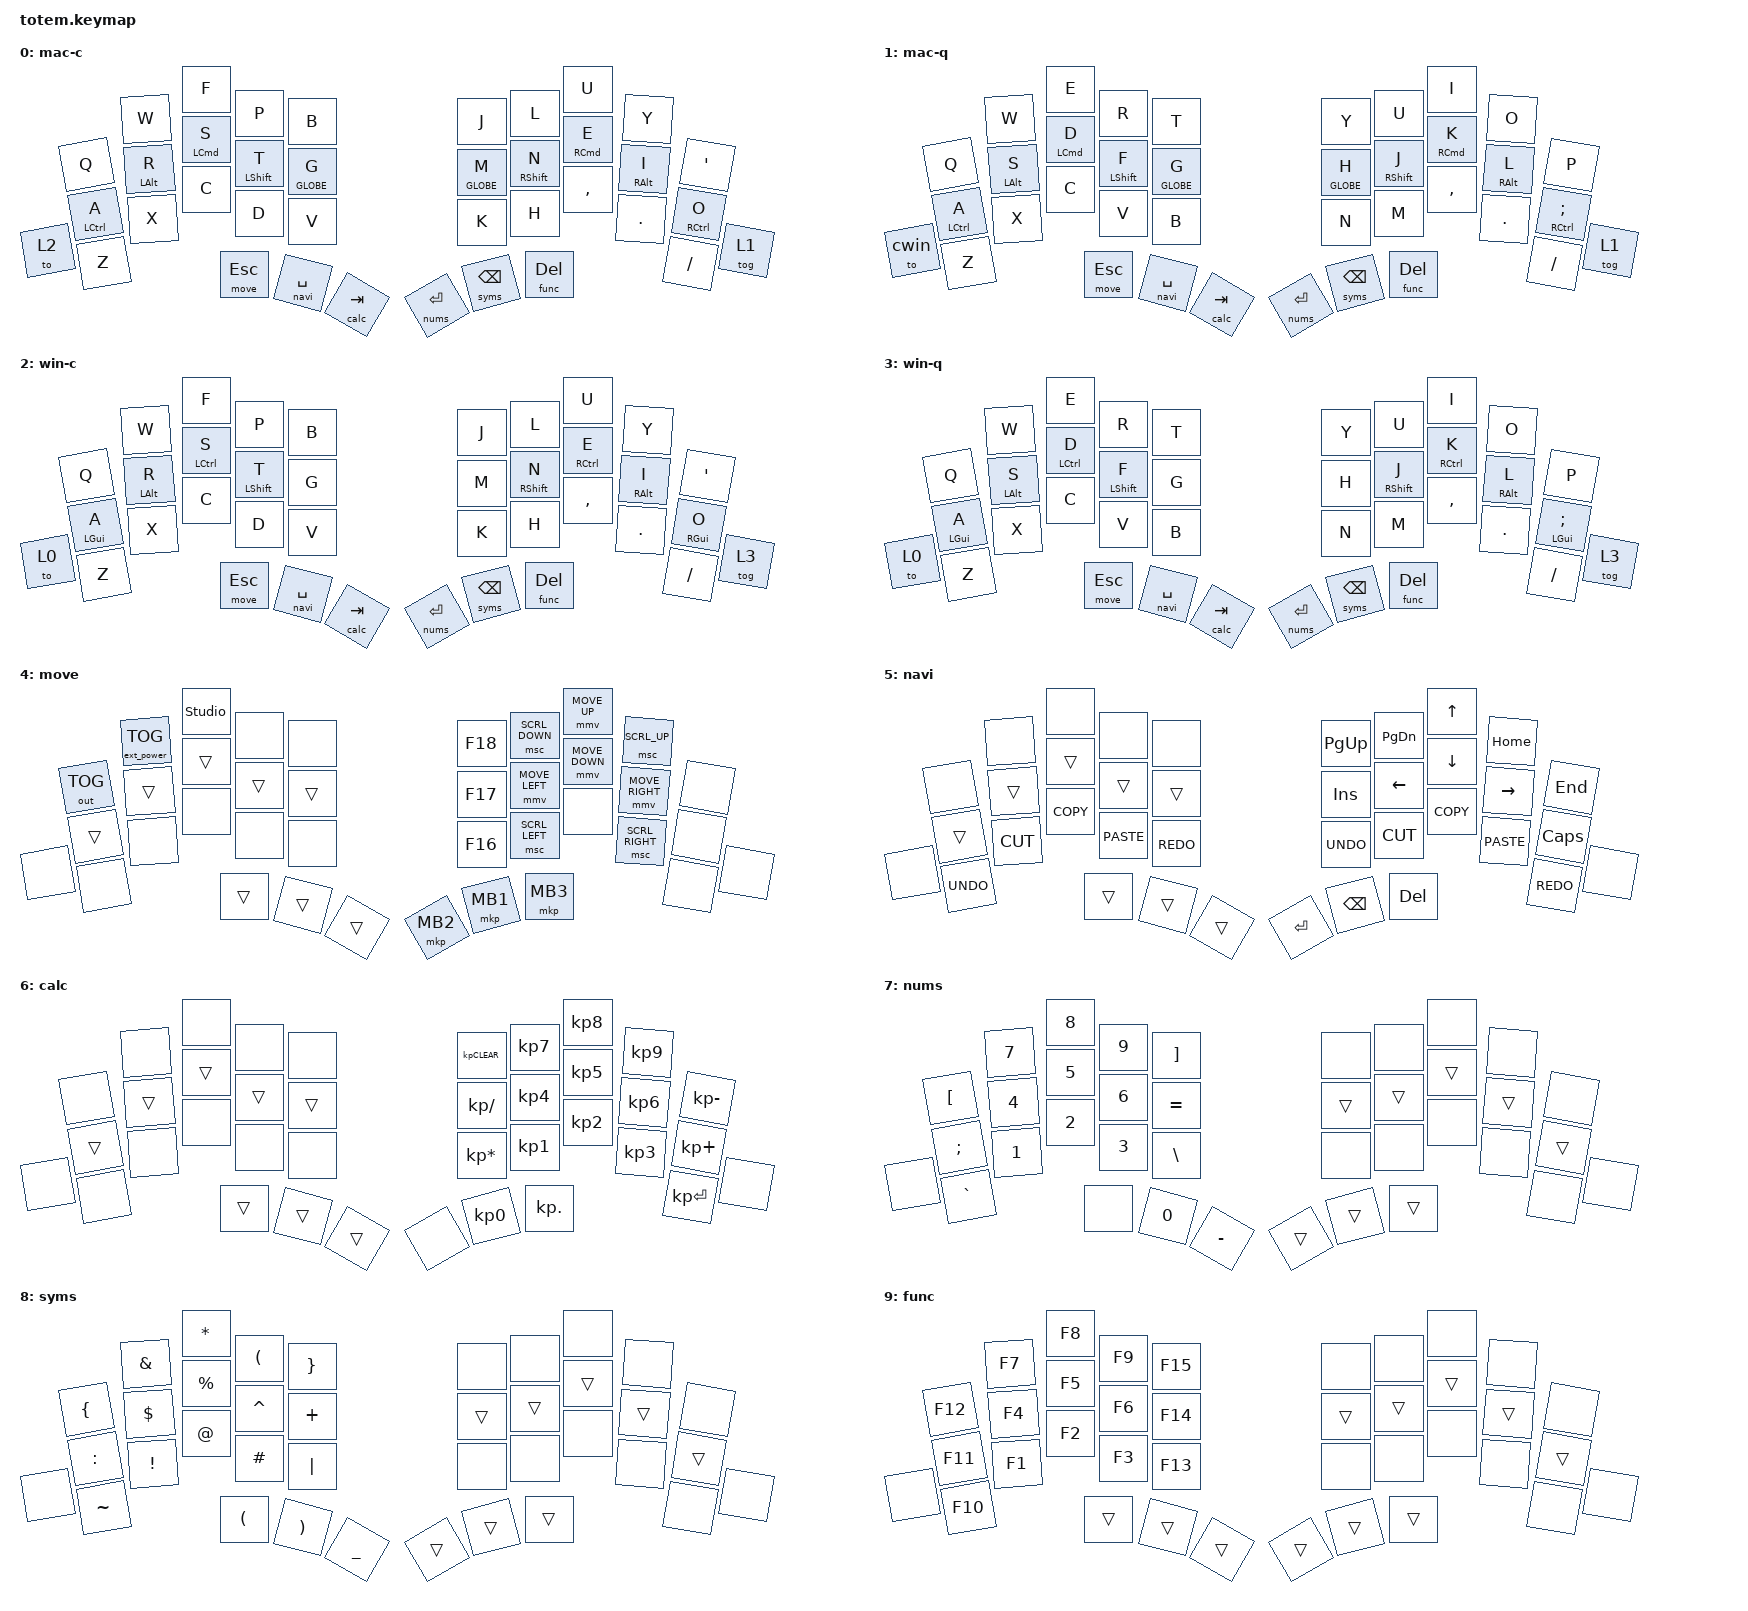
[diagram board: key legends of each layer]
//
//                                                        ▀▀▀▀▀     ▀▀▀▀▀          ▀▀█▀▀
//                                                        ▄▀▀▀▄  ▄  ▄▀▀▀▄  ▄  ▄▀▀▀▄  █  ▄▀▀▀▄
//                                                        █   █  █  █   █  █  █   █  █  █   █
//                                                         ▀▀▀   █   ▀▀▀   █   ▀▀▀   ▀   ▀▀▀
//                                                               █      ▄▄▄█▄▄▄    █   █
//                                                               ▀      █  █  █     █▄█
//                                                             ▀▀▀▀▀    █  █  █      ▀
//                                                                      ▀  ▀  ▀   MACOS MIRYOKU-INSPIRED
//
// ▄▄▄▄▄▄▄▄▄▄▄▄▄▄▄▄▄▄▄▄▄▄▄▄▄▄▄▄▄▄▄▄▄▄▄▄▄▄▄▄▄▄▄▄▄▄▄▄▄▄▄▄▄▄▄▄▄▄▄▄▄▄▄▄▄▄▄▄▄▄▄▄▄▄▄▄▄▄▄▄▄▄▄▄▄▄▄▄▄▄▄▄▄▄▄▄▄▄▄▄▄▄▄▄▄▄▄▄▄▄▄▄▄▄▄▄▄▄▄▄▄▄▄▄▄▄▄▄▄▄▄▄▄▄▄▄▄▄▄▄▄▄▄▄▄▄▄▄▄
//
// ╭───────────────────────────────────────────────────────────────────────────────────────────────────────────────────────────────────────────────────╮
// │ I N C L U D E S                                                                                                                                   │
// ╰───────────────────────────────────────────────────────────────────────────────────────────────────────────────────────────────────────────────────╯

#include <behaviors.dtsi>
#include <dt-bindings/zmk/keys.h>
#include <dt-bindings/zmk/bt.h>
#include <dt-bindings/zmk/outputs.h>
#include <dt-bindings/zmk/ext_power.h>
#include <dt-bindings/zmk/pointing.h>

// ╭───────────────────────────────────────────────────────────────────────────────────────────────────────────────────────────────────────────────────╮
// │ D E F I N E  L A Y E R S                                                                                                                          │
// ╰───────────────────────────────────────────────────────────────────────────────────────────────────────────────────────────────────────────────────╯

#define cmac    0
#define qmac    1
#define cwin    2
#define qwin    3
#define move    4
#define navi    5
#define calc    6
#define nums    7
#define syms    8
#define func    9

// ╭───────────────────────────────────────────────────────────────────────────────────────────────────────────────────────────────────────────────────╮
// │ B E H A V I O R S                                                                                                                                 │
// ╰───────────────────────────────────────────────────────────────────────────────────────────────────────────────────────────────────────────────────╯

&mt {
    quick-tap-ms = <100>;
    global-quick-tap;
    flavor = "tap-preferred";
    tapping-term-ms = <170>;
};

&lt {
    tapping-term-ms = <240>;
    flavor = "balanced";
    quick-tap-ms = <150>;
};

/ {
    behaviors {
        hml: home_row_mod_left {
            compatible = "zmk,behavior-hold-tap";
            #binding-cells = <2>;
            flavor = "balanced";
            tapping-term-ms = <280>;
            quick-tap-ms = <175>;
            bindings = <&kp>, <&kp>;
            require-prior-idle-ms = <150>;
            hold-trigger-key-positions = <10 11 12 13 14>;
            hold-trigger-on-release;
        };
            hmr: home_row_mod_right {
            compatible = "zmk,behavior-hold-tap";
            #binding-cells = <2>;
            flavor = "balanced";
            tapping-term-ms = <280>;
            quick-tap-ms = <175>;
            bindings = <&kp>, <&kp>;
            require-prior-idle-ms = <150>;
            hold-trigger-key-positions = <15 16 17 18 19>;
            hold-trigger-on-release;
        };
    };

// ╭───────────────────────────────────────────────────────────────────────────────────────────────────────────────────────────────────────────────────╮
// │ C O M B O S  A N D  M A C R O S                                                                                                                   │
// ╰───────────────────────────────────────────────────────────────────────────────────────────────────────────────────────────────────────────────────╯

/ {
    combos {
        compatible = "zmk,combos";

        combo_esc {
            timeout-ms = <50>;
            key-positions = <0 1>;
            bindings = <&kp ESC>;
        };

        Enter {
            bindings = <&kp ENTER>;
            key-positions = <34 35>;
        };
    };

// ▝▀▀▀▀▀▀▀▀▀▀▀▀▀▀▀▀▀▀▀▀▀▀▀▀▀▀▀▀▀▀▀▀▀▀▀▀▀▀▀▀▀▀▀▀▀▀▀▀▀▀▀▀▀▀▀▀▀▀▀▀▀▀▀▀▀▀▀▀▀▀▀▀▀▀▀▀▀▀▀▀▀▀▀▀▀▀▀▀▀▀▀▀▀▀▀▀▀▀▀▀▀▀▀▀▀▀▀▀▀▀▀▀▀▀▀▀▀▀▀▀▀▀▀▀▀▀▀▀▀▀▀▀▀▀▀▀▀▀▀▀▀▀▀▀▀▀▀▘
// ╭───────────────────────────────────────────────────────────────────────────────────────────────────────────────────────────────────────────────────╮
// │ K E Y M A P S                                                                                                                                     │
// ╰───────────────────────────────────────────────────────────────────────────────────────────────────────────────────────────────────────────────────╯
    keymap {
        compatible = "zmk,keymap";

// ╺━━━━━━━━━━━━━━━━━━━━━━━━━━━━━━━━━━━━━━━━━━━━━━━━━━━━━━━━━━━━━━━━━━━━━━━━━━━━━━━━━━━━━━━━━━━━━━━━━━━━━━━━━━━━━━━━━━━━━━━━━━━━━━━━━━━━━━━━━━━━━━━━━━━╸
//
// ╭──────────┬───────────────────────────────────────╮
// │ Layer 0  │ COLEMAK-DH with Apple mods            │
// ╰──────────┴───────────────────────────────────────╯
//                 ╭─────────┬─────────┬─────────┬─────────┬─────────╮ ╭─────────┬─────────┬─────────┬─────────┬─────────╮
//                 │    Q    │    W    │    F    │    P    │    B    │ │    J    │    L    │    U    │    Y    │    '    │
//                 ├─────────┼─────────┼─────────┼─────────┼─────────┤ ├─────────┼─────────┼─────────┼─────────┼─────────┤
//                 │   ⌃ A   │   ⌥ R   │   ⌘ S   │   ⇧ T   │   ⎈ G   │ │   ⎈ M   │   ⇧ N   │   ⌘ E   │   ⌥ I   │   ⌃ O   │
//       ╭─────────┼─────────┼─────────┼─────────┼─────────┼─────────┤ ├─────────┼─────────┼─────────┼─────────┼─────────┼─────────╮
//       │  CWIN   │    Z    │    X    │    C    │    D    │    V    │ │    K    │    H    │    ,    │    .    │    /    │   QMAC  │
//       ╰─────────┴─────────┴─────────┼─────────┼─────────┼─────────┤ ├─────────┼─────────┼─────────┼─────────┴─────────┴─────────╯
//                                     │  4 ESC  │ 5 SPACE │  6 TAB  │ │  7 RET  │ 8 BSPC  │  9 DEL  │
//                                     ╰─────────┴─────────┴─────────╯ ╰─────────┴─────────┴─────────╯
        cmac {
            label = "mac-c";
            bindings = <
                &kp Q  &kp W  &kp F  &kp P  &kp B                                    &kp J  &kp L  &kp U  &kp Y  &kp APOS
                &hml LCTRL A  &hml LALT R  &hml LCMD S  &hml LSHFT T  &hml GLOBE G   &hmr GLOBE M  &hmr RSHFT N  &hmr RCMD E  &hmr RALT I  &hmr RCTRL O
                &to 2  &kp Z  &kp X  &kp C  &kp D  &kp V                             &kp K  &kp H  &kp COMMA  &kp PERIOD  &kp FSLH  &tog 1
                &lt move ESC  &lt navi SPACE  &lt calc TAB                           &lt nums RET  &lt syms BSPC  &lt func DEL
            >;
        };

// ╺━━━━━━━━━━━━━━━━━━━━━━━━━━━━━━━━━━━━━━━━━━━━━━━━━━━━━━━━━━━━━━━━━━━━━━━━━━━━━━━━━━━━━━━━━━━━━━━━━━━━━━━━━━━━━━━━━━━━━━━━━━━━━━━━━━━━━━━━━━━━━━━━━━━╸
//
// ╭──────────┬───────────────────────────────────────╮
// │ Layer 1  │ QWERTY with Apple mods                │
// ╰──────────┴───────────────────────────────────────╯
//                 ╭─────────┬─────────┬─────────┬─────────┬─────────╮ ╭─────────┬─────────┬─────────┬─────────┬─────────╮
//                 │    Q    │    W    │    E    │    R    │    T    │ │    Y    │    U    │    I    │    O    │    P    │
//                 ├─────────┼─────────┼─────────┼─────────┼─────────┤ ├─────────┼─────────┼─────────┼─────────┼─────────┤
//                 │   ⌃ A   │   ⌥ S   │   ⌘ D   │   ⇧ F   │   ⎈ G   │ │   ⎈ H   │   ⇧ J   │   ⌘ K   │   ⌥ L   │   ⌃ ;   │
//       ╭─────────┼─────────┼─────────┼─────────┼─────────┼─────────┤ ├─────────┼─────────┼─────────┼─────────┼─────────┼─────────╮
//       │  CWIN   │    Z    │    X    │    C    │    V    │    B    │ │    N    │    M    │    ,    │    .    │    /    │   CMAC  │
//       ╰─────────┴─────────┴─────────┼─────────┼─────────┼─────────┤ ├─────────┼─────────┼─────────┼─────────┴─────────┴─────────╯
//                                     │  4 ESC  │ 5 SPACE │  6 TAB  │ │  7 RET  │ 8 BSPC  │  9 DEL  │
//                                     ╰─────────┴─────────┴─────────╯ ╰─────────┴─────────┴─────────╯
        qmac {
            label = "mac-q";
            bindings = <
                &kp Q  &kp W  &kp E  &kp R  &kp T                                     &kp Y  &kp U  &kp I  &kp O  &kp P
                &hml LCTRL A  &hml LALT S  &hml LCMD D  &hml LSHFT F  &hml GLOBE G    &hmr GLOBE H  &hmr RSHFT J  &hmr RCMD K  &hmr RALT L  &hmr RCTRL SEMI
                &to cwin  &kp Z  &kp X  &kp C  &kp V  &kp B                           &kp N  &kp M  &kp COMMA  &kp DOT  &kp FSLH  &tog 1
                &lt move ESC  &lt navi SPACE  &lt calc TAB                            &lt nums RET  &lt syms BSPC  &lt func DEL
            >;
        };

// ╺━━━━━━━━━━━━━━━━━━━━━━━━━━━━━━━━━━━━━━━━━━━━━━━━━━━━━━━━━━━━━━━━━━━━━━━━━━━━━━━━━━━━━━━━━━━━━━━━━━━━━━━━━━━━━━━━━━━━━━━━━━━━━━━━━━━━━━━━━━━━━━━━━━━╸
//
// ╭──────────┬───────────────────────────────────────╮
// │ Layer 2  │ COLEMAK-DH with Microsoft mods        │
// ╰──────────┴───────────────────────────────────────╯
//                 ╭─────────┬─────────┬─────────┬─────────┬─────────╮ ╭─────────┬─────────┬─────────┬─────────┬─────────╮
//                 │    Q    │    W    │    F    │    P    │    B    │ │    J    │    L    │    U    │    Y    │    '    │
//                 ├─────────┼─────────┼─────────┼─────────┼─────────┤ ├─────────┼─────────┼─────────┼─────────┼─────────┤
//                 │   ♢ A   │   ⌥ R   │   ⌃ S   │   ⇧ T   │    G    │ │    M    │   ⇧ N   │   ⌃ E   │   ⌥ I   │   ♢ O   │
//       ╭─────────┼─────────┼─────────┼─────────┼─────────┼─────────┤ ├─────────┼─────────┼─────────┼─────────┼─────────┼─────────╮
//       │  CMAC   │    Z    │    X    │    C    │    D    │    V    │ │    K    │    H    │    ,    │    .    │    /    │   QWIN  │
//       ╰─────────┴─────────┴─────────┼─────────┼─────────┼─────────┤ ├─────────┼─────────┼─────────┼─────────┴─────────┴─────────╯
//                                     │  4 ESC  │ 5 SPACE │  6 TAB  │ │  7 RET  │ 8 BSPC  │  9 DEL  │
//                                     ╰─────────┴─────────┴─────────╯ ╰─────────┴─────────┴─────────╯
        cwin {
            label = "win-c";
            bindings = <
                &kp Q  &kp W  &kp F  &kp P  &kp B                                  &kp J  &kp L  &kp U  &kp Y  &kp APOS
                &hml LGUI A  &hml LALT R  &hml LCTRL S  &hml LSHFT T  &kp G        &kp M  &hmr RSHFT N  &hmr RCTRL E  &hmr RALT I  &hmr RGUI O
                &to 0  &kp Z  &kp X  &kp C  &kp D  &kp V                           &kp K  &kp H  &kp COMMA  &kp PERIOD  &kp FSLH  &tog 3
                &lt move ESC  &lt navi SPACE  &lt calc TAB                         &lt nums RET  &lt syms BSPC  &lt func DEL
            >;
        };

// ╺━━━━━━━━━━━━━━━━━━━━━━━━━━━━━━━━━━━━━━━━━━━━━━━━━━━━━━━━━━━━━━━━━━━━━━━━━━━━━━━━━━━━━━━━━━━━━━━━━━━━━━━━━━━━━━━━━━━━━━━━━━━━━━━━━━━━━━━━━━━━━━━━━━━╸
//
// ╭──────────┬───────────────────────────────────────╮
// │ Layer 3  │ QWERTY with Microsoft mods            │
// ╰──────────┴───────────────────────────────────────╯
//                 ╭─────────┬─────────┬─────────┬─────────┬─────────╮ ╭─────────┬─────────┬─────────┬─────────┬─────────╮
//                 │    Q    │    W    │    E    │    R    │    T    │ │    Y    │    U    │    I    │    O    │    P    │
//                 ├─────────┼─────────┼─────────┼─────────┼─────────┤ ├─────────┼─────────┼─────────┼─────────┼─────────┤
//                 │   ♢ A   │   ⌥ S   │   ⌃ D   │   ⇧ F   │    G    │ │    H    │   ⇧ J   │   ⌃ K   │   ⌥ L   │   ♢ ;   │
//       ╭─────────┼─────────┼─────────┼─────────┼─────────┼─────────┤ ├─────────┼─────────┼─────────┼─────────┼─────────┼─────────╮
//       │  CMAC   │    Z    │    X    │    C    │    V    │    B    │ │    N    │    M    │    ,    │    .    │    /    │   CWIN  │
//       ╰─────────┴─────────┴─────────┼─────────┼─────────┼─────────┤ ├─────────┼─────────┼─────────┼─────────┴─────────┴─────────╯
//                                     │  4 ESC  │ 5 SPACE │  6 TAB  │ │  7 RET  │ 8 BSPC  │  9 DEL  │
//                                     ╰─────────┴─────────┴─────────╯ ╰─────────┴─────────┴─────────╯
        qwin {
            label = "win-q";
            bindings = <
                &kp Q  &kp W  &kp E  &kp R  &kp T                                  &kp Y  &kp U  &kp I  &kp O  &kp P
                &hml LGUI A  &hml LALT S  &hml LCTRL D  &hml LSHFT F  &kp G        &kp H  &hmr RSHFT J  &hmr RCTRL K  &hmr RALT L  &hmr LGUI SEMI
                &to 0  &kp Z  &kp X  &kp C  &kp V  &kp B                           &kp N  &kp M  &kp COMMA  &kp DOT  &kp FSLH  &tog 3
                &lt move ESC  &lt navi SPACE  &lt calc TAB                         &lt nums RET  &lt syms BSPC  &lt func DEL
            >;
        };

// ╺━━━━━━━━━━━━━━━━━━━━━━━━━━━━━━━━━━━━━━━━━━━━━━━━━━━━━━━━━━━━━━━━━━━━━━━━━━━━━━━━━━━━━━━━━━━━━━━━━━━━━━━━━━━━━━━━━━━━━━━━━━━━━━━━━━━━━━━━━━━━━━━━━━━╸
//
// ╭──────────┬───────────────────────────────────────╮
// │ Layer 4  │ ZMK Control and Mouse Emulation       │
// ╰──────────┴───────────────────────────────────────╯
//                 ╭─────────┬─────────┬─────────┬─────────┬─────────╮ ╭─────────┬─────────┬─────────┬─────────┬─────────╮
//                 │ USB/BLE │   PWR   │ studio  │         │         │ │   F18   │ scroll↓ │    ↑    │ scroll↑ │         │
//                 ├─────────┼─────────┼─────────┼─────────┼─────────┤ ├─────────┼─────────┼─────────┼─────────┼─────────┤
//                 │    ▼    │    ▼    │    ▼    │    ▼    │    ▼    │ │   F17   │    ←    │    ↓    │    →    │         │
//       ╭─────────┼─────────┼─────────┼─────────┼─────────┼─────────┤ ├─────────┼─────────┼─────────┼─────────┼─────────┼─────────╮
//       │         │         │         │         │         │         │ │   F16   │ scroll← │         │ scroll→ │         │         │
//       ╰─────────┴─────────┴─────────┼─────────┼─────────┼─────────┤ ├─────────┼─────────┼─────────┼─────────┴─────────┴─────────╯
//                                     │    ▽    │    ▼    │    ▼    │ │   MB1   │   MB2   │   MB3   │
//                                     ╰─────────┴─────────┴─────────╯ ╰─────────┴─────────┴─────────╯
        move {
            label = "move";
            bindings = <
                &out OUT_TOG  &ext_power EP_TOG  &studio_unlock  &none  &none      &kp F18  &msc SCRL_DOWN  &mmv MOVE_UP  &msc SCRL_UP  &none
                &trans  &trans  &trans  &trans  &trans                             &kp F17  &mmv MOVE_LEFT  &mmv MOVE_DOWN  &mmv MOVE_RIGHT  &none
                &none  &none  &none  &none  &none  &none                           &kp F16  &msc SCRL_LEFT  &none  &msc SCRL_RIGHT  &none  &none
                &trans  &trans  &trans                                             &mkp MB2  &mkp MB1  &mkp MB3
            >;
        };

// ╺━━━━━━━━━━━━━━━━━━━━━━━━━━━━━━━━━━━━━━━━━━━━━━━━━━━━━━━━━━━━━━━━━━━━━━━━━━━━━━━━━━━━━━━━━━━━━━━━━━━━━━━━━━━━━━━━━━━━━━━━━━━━━━━━━━━━━━━━━━━━━━━━━━━╸
//
// ╭──────────┬───────────────────────────────────────╮
// │ Layer 5  │ Navigation and Arrow Keys             │
// ╰──────────┴───────────────────────────────────────╯
//                 ╭─────────┬─────────┬─────────┬─────────┬─────────╮ ╭─────────┬─────────┬─────────┬─────────┬─────────╮
//                 │         │         │         │         │         │ │  PG_UP  │  PG_DN  │    ↑    │  HOME   │   END   │
//                 ├─────────┼─────────┼─────────┼─────────┼─────────┤ ├─────────┼─────────┼─────────┼─────────┼─────────┤
//                 │    ▼    │    ▼    │    ▼    │    ▼    │    ▼    │ │   INS   │    ←    │    ↓    │    →    │  CAPS   │
//       ╭─────────┼─────────┼─────────┼─────────┼─────────┼─────────┤ ├─────────┼─────────┼─────────┼─────────┼─────────┼─────────╮
//       │         │   UNDO  │   CUT   │  COPY   │  PASTE  │  REDO   │ │   UNDO  │   CUT   │  COPY   │  PASTE  │  REDO   │         │
//       ╰─────────┴─────────┴─────────┼─────────┼─────────┼─────────┤ ├─────────┼─────────┼─────────┼─────────┴─────────┴─────────╯
//                                     │    ▼    │    ▽    │    ▼    │ │   RET   │  BSPC   │   DEL   │
//                                     ╰─────────┴─────────┴─────────╯ ╰─────────┴─────────┴─────────╯
        navi {
            label = "navi";
            bindings = <
                &none  &none  &none  &none  &none                                 &kp PG_UP  &kp PG_DN  &kp UP  &kp HOME  &kp END
                &trans  &trans  &trans  &trans  &trans                            &kp INS  &kp LEFT  &kp DOWN  &kp RIGHT  &kp CAPS
                &none  &kp K_UNDO  &kp K_CUT  &kp K_COPY  &kp K_PASTE  &kp K_REDO &kp K_UNDO  &kp K_CUT  &kp K_COPY  &kp K_PASTE  &kp K_REDO  &none
                &trans  &trans  &trans                                            &kp RET  &kp BSPC  &kp DEL
            >;
        };

// ╺━━━━━━━━━━━━━━━━━━━━━━━━━━━━━━━━━━━━━━━━━━━━━━━━━━━━━━━━━━━━━━━━━━━━━━━━━━━━━━━━━━━━━━━━━━━━━━━━━━━━━━━━━━━━━━━━━━━━━━━━━━━━━━━━━━━━━━━━━━━━━━━━━━━╸
//
// ╭──────────┬───────────────────────────────────────╮
// │ Layer 6  │ Keypad Numbers                        │
// ╰──────────┴───────────────────────────────────────╯
//                 ╭─────────┬─────────┬─────────┬─────────┬─────────╮ ╭─────────┬─────────┬─────────┬─────────┬─────────╮
//                 │         │         │         │         │         │ │   CLR   │    7    │    8    │    9    │    -    │
//                 ├─────────┼─────────┼─────────┼─────────┼─────────┤ ├─────────┼─────────┼─────────┼─────────┼─────────┤
//                 │    ▼    │    ▼    │    ▼    │    ▼    │    ▼    │ │    /    │    4    │    5    │    6    │    +    │
//       ╭─────────┼─────────┼─────────┼─────────┼─────────┼─────────┤ ├─────────┼─────────┼─────────┼─────────┼─────────┼─────────╮
//       │         │         │         │         │         │         │ │    *    │    1    │    2    │    3    │   ENT   │         │
//       ╰─────────┴─────────┴─────────┼─────────┼─────────┼─────────┤ ├─────────┼─────────┼─────────┼─────────┴─────────┴─────────╯
//                                     │    ▼    │    ▼    │    ▽    │ │         │    0    │    .    │
//                                     ╰─────────┴─────────┴─────────╯ ╰─────────┴─────────┴─────────╯
        calc {
            label = "calc";
            bindings = <
                &none  &none  &none   &none   &none                                &kp KP_CLEAR  &kp KP_N7  &kp KP_N8  &kp KP_N9  &kp KP_MINUS
                &trans  &trans  &trans  &trans  &trans                             &kp KP_DIVIDE  &kp KP_N4  &kp KP_N5  &kp KP_N6  &kp KP_PLUS
                &none  &none  &none  &none   &none   &none                         &kp KP_MULTIPLY  &kp KP_N1  &kp KP_N2  &kp KP_N3  &kp KP_ENTER  &none
                &trans  &trans  &trans                                             &none  &kp KP_N0  &kp KP_DOT
            >;
        };

// ╺━━━━━━━━━━━━━━━━━━━━━━━━━━━━━━━━━━━━━━━━━━━━━━━━━━━━━━━━━━━━━━━━━━━━━━━━━━━━━━━━━━━━━━━━━━━━━━━━━━━━━━━━━━━━━━━━━━━━━━━━━━━━━━━━━━━━━━━━━━━━━━━━━━━╸
//
// ╭──────────┬───────────────────────────────────────╮
// │ Layer 7  │ Top-row Numbers                       │
// ╰──────────┴───────────────────────────────────────╯
//                 ╭─────────┬─────────┬─────────┬─────────┬─────────╮ ╭─────────┬─────────┬─────────┬─────────┬─────────╮
//                 │    [    │    7    │    8    │    9    │    ]    │ │         │         │         │         │         │
//                 ├─────────┼─────────┼─────────┼─────────┼─────────┤ ├─────────┼─────────┼─────────┼─────────┼─────────┤
//                 │    ;    │    4    │    5    │    6    │    =    │ │    ▼    │    ▼    │    ▼    │    ▼    │    ▼    │
//       ╭─────────┼─────────┼─────────┼─────────┼─────────┼─────────┤ ├─────────┼─────────┼─────────┼─────────┼─────────┼─────────╮
//       │         │    `    │    1    │    2    │    3    │    \    │ │         │         │         │         │         │         │
//       ╰─────────┴─────────┴─────────┼─────────┼─────────┼─────────┤ ├─────────┼─────────┼─────────┼─────────┴─────────┴─────────╯
//                                     │         │    0    │    -    │ │    ▽    │    ▼    │    ▼    │
//                                     ╰─────────┴─────────┴─────────╯ ╰─────────┴─────────┴─────────╯
        nums {
            label = "nums";
            bindings = <
                &kp LBKT  &kp N7  &kp N8  &kp N9  &kp RBKT                         &none  &none  &none  &none  &none
                &kp SEMI  &kp N4  &kp N5  &kp N6  &kp EQUAL                        &trans  &trans  &trans  &trans  &trans
                &none  &kp GRAVE  &kp N1  &kp N2  &kp N3  &kp BSLH                 &none  &none  &none  &none  &none  &none
                &none  &kp N0  &kp MINUS                                           &trans  &trans  &trans
            >;
        };

// ╺━━━━━━━━━━━━━━━━━━━━━━━━━━━━━━━━━━━━━━━━━━━━━━━━━━━━━━━━━━━━━━━━━━━━━━━━━━━━━━━━━━━━━━━━━━━━━━━━━━━━━━━━━━━━━━━━━━━━━━━━━━━━━━━━━━━━━━━━━━━━━━━━━━━╸
//
// ╭──────────┬───────────────────────────────────────╮
// │ Layer 8  │ Symbols                               │
// ╰──────────┴───────────────────────────────────────╯
//                 ╭─────────┬─────────┬─────────┬─────────┬─────────╮ ╭─────────┬─────────┬─────────┬─────────┬─────────╮
//                 │    {    │    &    │    *    │    (    │    }    │ │         │         │         │         │         │
//                 ├─────────┼─────────┼─────────┼─────────┼─────────┤ ├─────────┼─────────┼─────────┼─────────┼─────────┤
//                 │    :    │    $    │    %    │    ^    │    +    │ │    ▼    │    ▼    │    ▼    │    ▼    │    ▼    │
//       ╭─────────┼─────────┼─────────┼─────────┼─────────┼─────────┤ ├─────────┼─────────┼─────────┼─────────┼─────────┼─────────╮
//       │         │    ~    │    !    │    @    │    #    │    |    │ │         │         │         │         │         │         │
//       ╰─────────┴─────────┴─────────┼─────────┼─────────┼─────────┤ ├─────────┼─────────┼─────────┼─────────┴─────────┴─────────╯
//                                     │    (    │    )    │    _    │ │    ▼    │    ▽    │    ▼    │
//                                     ╰─────────┴─────────┴─────────╯ ╰─────────┴─────────┴─────────╯
        syms {
            label = "syms";
            bindings = <
                &kp LBRC  &kp AMPS  &kp ASTRK  &kp LPAR  &kp RBRC                  &none  &none  &none  &none  &none
                &kp COLON  &kp DLLR  &kp PRCNT  &kp CARET  &kp PLUS                &trans  &trans  &trans  &trans  &trans
                &none  &kp TILDE  &kp EXCL  &kp AT  &kp POUND  &kp PIPE            &none  &none  &none  &none  &none  &none
                &kp LPAR  &kp RPAR  &kp UNDER                                      &trans  &trans  &trans
            >;
        };

// ╺━━━━━━━━━━━━━━━━━━━━━━━━━━━━━━━━━━━━━━━━━━━━━━━━━━━━━━━━━━━━━━━━━━━━━━━━━━━━━━━━━━━━━━━━━━━━━━━━━━━━━━━━━━━━━━━━━━━━━━━━━━━━━━━━━━━━━━━━━━━━━━━━━╸
//
// ╭──────────┬───────────────────────────────────────╮
// │ Layer 9  │ Function Keys                         │
// ╰──────────┴───────────────────────────────────────╯
//                 ╭─────────┬─────────┬─────────┬─────────┬─────────╮ ╭─────────┬─────────┬─────────┬─────────┬─────────╮
//                 │   F12   │   F7    │   F8    │   F9    │   F15   │ │         │         │         │         │         │
//                 ├─────────┼─────────┼─────────┼─────────┼─────────┤ ├─────────┼─────────┼─────────┼─────────┼─────────┤
//                 │   F11   │   F4    │   F5    │   F6    │   F14   │ │    ▼    │    ▼    │    ▼    │    ▼    │    ▼    │
//       ╭─────────┼─────────┼─────────┼─────────┼─────────┼─────────┤ ├─────────┼─────────┼─────────┼─────────┼─────────┼─────────╮
//       │         │   F10   │   F1    │   F2    │   F3    │   F13   │ │         │         │         │         │         │         │
//       ╰─────────┴─────────┴─────────┼─────────┼─────────┼─────────┤ ├─────────┼─────────┼─────────┼─────────┴─────────┴─────────╯
//                                     │    ▼    │    ▼    │    ▼    │ │    ▼    │    ▼    │    ▽    │
//                                     ╰─────────┴─────────┴─────────╯ ╰─────────┴─────────┴─────────╯
        func {
            label = "func";
            bindings = <
                &kp F12  &kp F7  &kp F8  &kp F9  &kp F15                           &none  &none  &none  &none  &none
                &kp F11  &kp F4  &kp F5  &kp F6  &kp F14                           &trans  &trans  &trans  &trans  &trans
                &none  &kp F10  &kp F1  &kp F2  &kp F3  &kp F13                    &none  &none  &none  &none  &none  &none
                &trans  &trans  &trans                                             &trans  &trans  &trans
            >;
        };
    };
};

// ▝▀▀▀▀▀▀▀▀▀▀▀▀▀▀▀▀▀▀▀▀▀▀▀▀▀▀▀▀▀▀▀▀▀▀▀▀▀▀▀▀▀▀▀▀▀▀▀▀▀▀▀▀▀▀▀▀▀▀▀▀▀▀▀▀▀▀▀▀▀▀▀▀▀▀▀▀▀▀▀▀▀▀▀▀▀▀▀▀▀▀▀▀▀▀▀▀▀▀▀▀▀▀▀▀▀▀▀▀▀▀▀▀▀▀▀▀▀▀▀▀▀▀▀▀▀▀▀▀▀▀▀▀▀▀▀▀▀▀▀▀▀▀▀▀▀▀▀▘
//
//                                                                 ██████
//                                                                   ██  ▄▄▄▄
//                                                                   ██ ██▀▀██
//                                                                   ▀▀ ██▄▄██
//                                                               ██████  ▀▀▀▀
//                                                                 ██ ▄▄▄▄▄▄
//                                                                 ██ ██▀▀▀▀
//                                                                 ██ ██████
//                                                                    ██▄▄▄▄
//                                                                    ▀▀▀▀▀▀
//                                                                  ████████
//                                                                  ██ ██ ██
//                                                                  ██ ██ ██
//                                                                  ▀▀ ▀▀ ▀▀
//                                                                  ████████
//
// ▝▀▀▀▀▀▀▀▀▀▀▀▀▀▀▀▀▀▀▀▀▀▀▀▀▀▀▀▀▀▀▀▀▀▀▀▀▀▀▀▀▀▀▀▀▀▀▀▀▀▀▀▀▀▀▀▀▀▀▀▀▀▀▀▀▀▀▀▀▀▀▀▀▀▀▀▀▀▀▀▀▀▀▀▀▀▀▀▀▀▀▀▀▀▀▀▀▀▀▀▀▀▀▀▀▀▀▀▀▀▀▀▀▀▀▀▀▀▀▀▀▀▀▀▀▀▀▀▀▀▀▀▀▀▀▀▀▀▀▀▀▀▀▀▀▀▀▀▘
